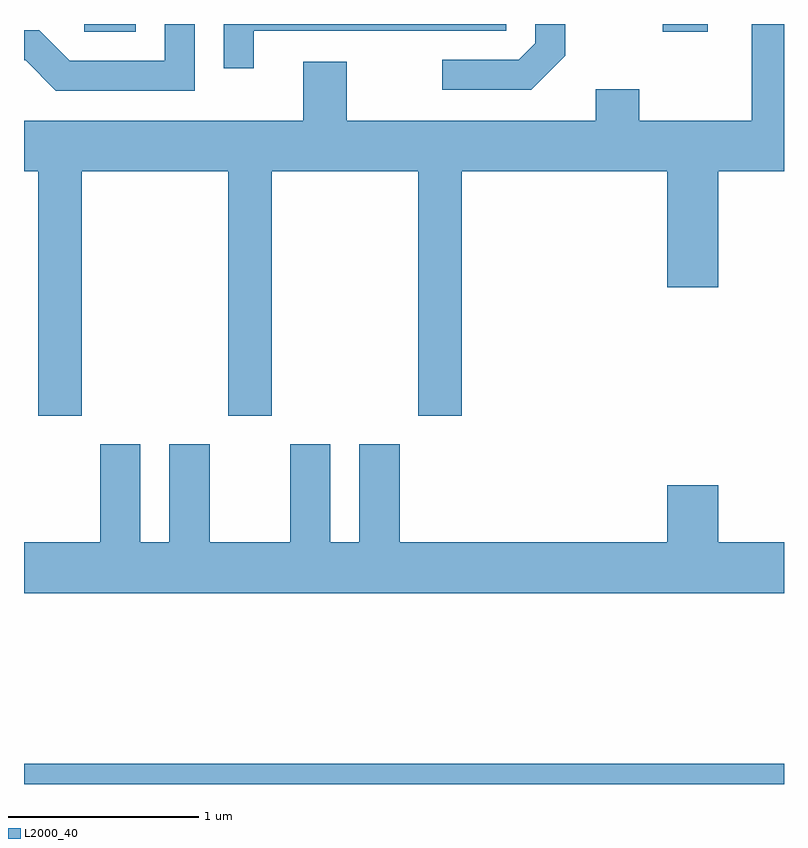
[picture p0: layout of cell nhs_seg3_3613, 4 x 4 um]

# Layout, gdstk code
import gdstk
lib = gdstk.Library(unit=1e-6, precision=1e-09)
def R(c, l, rs):  # rectangles x0, y0, x1, y1
    for r in rs: c.add(gdstk.rectangle(r[:2], r[2:], *l))
def P(c, l, *ps):  # polygons
    for p in ps: c.add(gdstk.Polygon(p, *l))
L2000_40 = (2000, 40)

nhs_seg3_3613 = lib.new_cell('nhs_seg3_3613')
R(nhs_seg3_3613, L2000_40, [(291.611,1133.892,295.611,1133.999), (291.928,1137.851,292.199,1137.892), (294.973,1137.851,295.209,1137.892)])
P(nhs_seg3_3613, L2000_40, [(294.459,1137.724),(294.459,1137.892),(294.301,1137.892),(294.301,1137.792),(294.214,1137.704),(293.813,1137.704),(293.813,1137.546),(294.282,1137.546)],
  [(291.914,1137.116),(292.686,1137.116),(292.686,1135.831),(292.914,1135.831),(292.914,1137.116),(293.686,1137.116),(293.686,1135.831),(293.914,1135.831),(293.914,1137.116),(294.996,1137.116),(294.996,1136.506),(295.264,1136.506),(295.264,1137.116),(295.611,1137.116),(295.611,1137.892),(295.441,1137.892),(295.441,1137.384),(294.849,1137.384),(294.849,1137.549),(294.621,1137.549),(294.621,1137.384),(293.309,1137.384),(293.309,1137.694),(293.081,1137.694),(293.081,1137.384),(291.611,1137.384),(291.611,1137.116),(291.686,1137.116),(291.686,1135.831),(291.914,1135.831)],
  [(292.819,1137.856),(294.149,1137.856),(294.149,1137.892),(292.661,1137.892),(292.661,1137.658),(292.819,1137.658)],
  [(292.509,1137.892),(292.351,1137.892),(292.351,1137.699),(291.852,1137.699),(291.692,1137.859),(291.611,1137.859),(291.611,1137.701),(291.619,1137.701),(291.779,1137.541),(292.509,1137.541)],
  [(295.611,1135.164),(295.264,1135.164),(295.264,1135.464),(294.996,1135.464),(294.996,1135.164),(293.589,1135.164),(293.589,1135.679),(293.376,1135.679),(293.376,1135.164),(293.224,1135.164),(293.224,1135.679),(293.011,1135.679),(293.011,1135.164),(292.589,1135.164),(292.589,1135.679),(292.376,1135.679),(292.376,1135.164),(292.224,1135.164),(292.224,1135.679),(292.011,1135.679),(292.011,1135.164),(291.611,1135.164),(291.611,1134.896),(295.611,1134.896)])

lib.write_gds('nhs_seg3_3613.gds')
